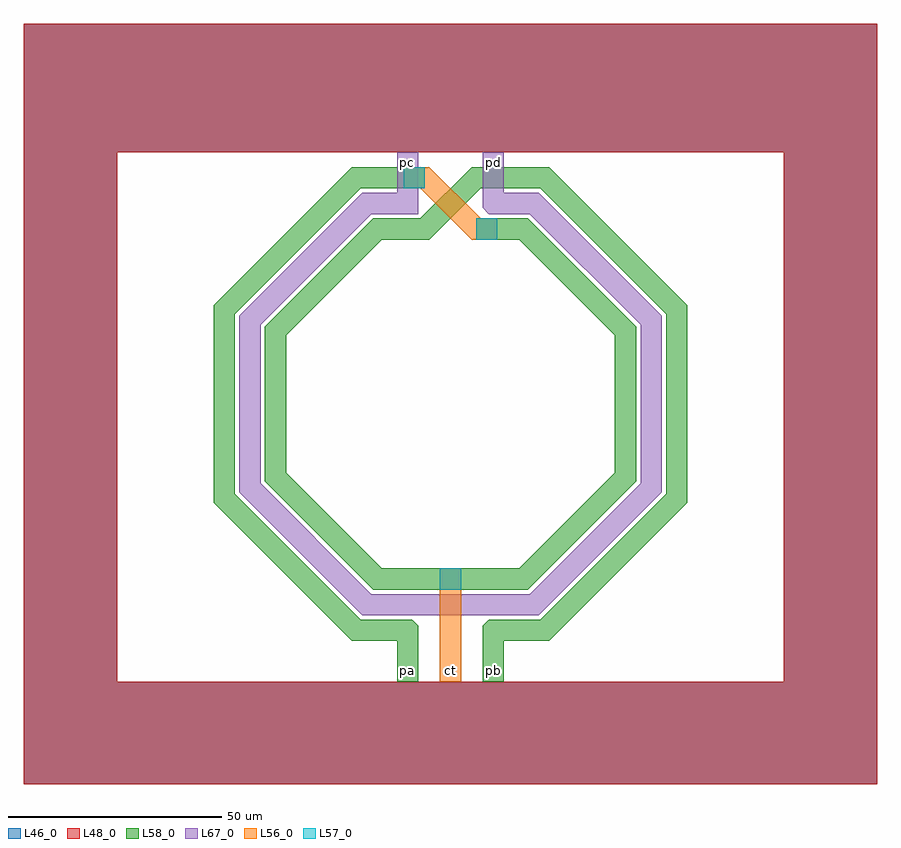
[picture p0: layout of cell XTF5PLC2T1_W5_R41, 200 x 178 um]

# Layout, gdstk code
import gdstk
lib = gdstk.Library(unit=1e-6, precision=1e-09)
def R(c, l, rs):  # rectangles x0, y0, x1, y1
    for r in rs: c.add(gdstk.rectangle(r[:2], r[2:], *l))
def P(c, l, *ps):  # polygons
    for p in ps: c.add(gdstk.Polygon(p, *l))
L46_0 = (46, 0)
L48_0 = (48, 0)
L56_0 = (56, 0)
L57_0 = (57, 0)
L58_0 = (58, 0)
L67_0 = (67, 0)

xtf5plc2t1_w5_r41 = lib.new_cell('XTF5PLC2T1_W5_R41')
P(xtf5plc2t1_w5_r41, L46_0, [(100,-89),(-100,-89),(-100,89),(78,89),(78,59),(-78,59),(-78,-65),(78,-65),(78,89),(100,89)])
P(xtf5plc2t1_w5_r41, L48_0, [(100,-89),(-100,-89),(-100,89),(78,89),(78,59),(-78,59),(-78,-65),(78,-65),(78,89),(100,89)])
R(xtf5plc2t1_w5_r41, L56_0, [(-2.5,-65,2.5,-38.5), (-2.5,-65,2.5,-60)])
P(xtf5plc2t1_w5_r41, L56_0, [(11,38.5),(4.965,38.5),(-7.035,50.5),(-11,50.5),(-11,55.5),(-4.965,55.5),(7.035,43.5),(11,43.5)])
R(xtf5plc2t1_w5_r41, L57_0, [(-2.5,-43.5,2.5,-38.5), (6,38.5,11,43.5), (-11,50.5,-6,55.5)])
R(xtf5plc2t1_w5_r41, L58_0, [(-12.5,-65,-7.5,-60), (7.5,-65,12.5,-60)])
P(xtf5plc2t1_w5_r41, L58_0, [(-6,50.5),(-21.055,50.5),(-50.5,21.055),(-50.5,-21.055),(-21.055,-50.5),(-8.965,-50.5),(-7.5,-51.965),(-7.5,-65),(-12.5,-65),(-12.5,-55.5),(-23.125,-55.5),(-55.5,-23.125),(-55.5,23.125),(-23.125,55.5),(-6,55.5)],
  [(55.5,-23.125),(23.125,-55.5),(12.5,-55.5),(12.5,-65),(7.5,-65),(7.5,-51.965),(8.965,-50.5),(21.055,-50.5),(50.5,-21.055),(50.5,21.055),(21.055,50.5),(7.035,50.5),(-4.965,38.5),(-16.055,38.5),(-38.5,16.055),(-38.5,-16.055),(-16.055,-38.5),(16.055,-38.5),(38.5,-16.055),(38.5,16.055),(16.055,38.5),(6,38.5),(6,43.5),(18.125,43.5),(43.5,18.125),(43.5,-18.125),(18.125,-43.5),(-18.125,-43.5),(-43.5,-18.125),(-43.5,18.125),(-18.125,43.5),(-7.035,43.5),(4.965,55.5),(23.125,55.5),(55.5,23.125)])
R(xtf5plc2t1_w5_r41, L67_0, [(-12.5,54,-7.5,59), (7.5,54,12.5,59)])
P(xtf5plc2t1_w5_r41, L67_0, [(49.5,-20.625),(20.625,-49.5),(-20.625,-49.5),(-49.5,-20.625),(-49.5,20.625),(-20.625,49.5),(-12.5,49.5),(-12.5,59),(-7.5,59),(-7.5,44.5),(-18.555,44.5),(-44.5,18.555),(-44.5,-18.555),(-18.555,-44.5),(18.555,-44.5),(44.5,-18.555),(44.5,18.555),(18.555,44.5),(8.965,44.5),(7.5,45.965),(7.5,59),(12.5,59),(12.5,49.5),(20.625,49.5),(49.5,20.625)])
xtf5plc2t1_w5_r41.add(gdstk.Label('pb', (10,-62.5), layer=58, texttype=0))
xtf5plc2t1_w5_r41.add(gdstk.Label('pa', (-10,-62.5), layer=58, texttype=0))
xtf5plc2t1_w5_r41.add(gdstk.Label('pd', (10,56.5), layer=67, texttype=0))
xtf5plc2t1_w5_r41.add(gdstk.Label('pc', (-10,56.5), layer=67, texttype=0))
xtf5plc2t1_w5_r41.add(gdstk.Label('ct', (0,-62.5), layer=56, texttype=0))

lib.write_gds('XTF5PLC2T1_W5_R41.gds')
